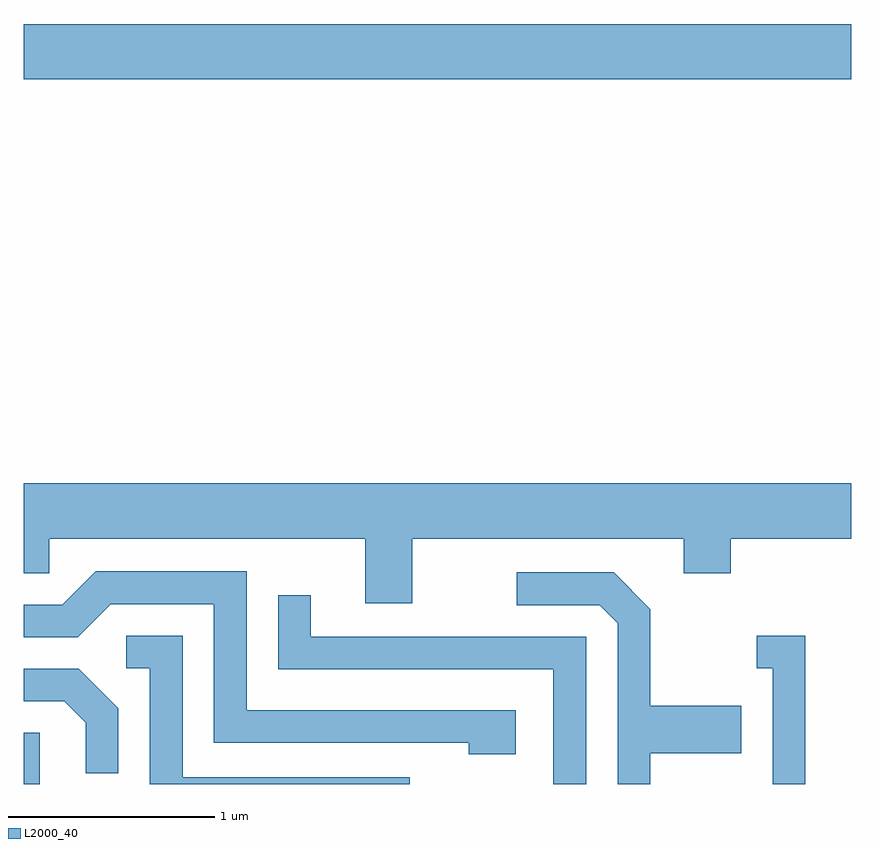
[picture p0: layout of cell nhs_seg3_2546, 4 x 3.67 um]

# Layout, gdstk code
import gdstk
lib = gdstk.Library(unit=1e-6, precision=1e-09)
def R(c, l, rs):  # rectangles x0, y0, x1, y1
    for r in rs: c.add(gdstk.rectangle(r[:2], r[2:], *l))
def P(c, l, *ps):  # polygons
    for p in ps: c.add(gdstk.Polygon(p, *l))
L2000_40 = (2000, 40)

nhs_seg3_2546 = lib.new_cell('nhs_seg3_2546')
R(nhs_seg3_2546, L2000_40, [(259.611,1175.892,259.689,1176.139), (259.611,1179.296,263.611,1179.564)])
P(nhs_seg3_2546, L2000_40, [(261.489,1177.076),(262.801,1177.076),(262.801,1176.911),(263.029,1176.911),(263.029,1177.076),(263.611,1177.076),(263.611,1177.344),(259.611,1177.344),(259.611,1176.911),(259.734,1176.911),(259.734,1177.076),(261.261,1177.076),(261.261,1176.766),(261.489,1176.766)],
  [(261.989,1176.249),(260.689,1176.249),(260.689,1176.919),(259.959,1176.919),(259.799,1176.759),(259.611,1176.759),(259.611,1176.601),(259.872,1176.601),(260.032,1176.761),(260.531,1176.761),(260.531,1176.091),(261.761,1176.091),(261.761,1176.036),(261.989,1176.036)],
  [(262.639,1176.041),(263.079,1176.041),(263.079,1176.269),(262.639,1176.269),(262.639,1176.737),(262.462,1176.914),(261.993,1176.914),(261.993,1176.756),(262.394,1176.756),(262.481,1176.669),(262.481,1175.892),(262.639,1175.892)],
  [(262.329,1176.604),(260.999,1176.604),(260.999,1176.803),(260.841,1176.803),(260.841,1176.446),(262.171,1176.446),(262.171,1175.892),(262.329,1175.892)],
  [(261.478,1175.924),(260.379,1175.924),(260.379,1176.609),(260.108,1176.609),(260.108,1176.451),(260.221,1176.451),(260.221,1175.892),(261.478,1175.892)],
  [(263.389,1176.609),(263.153,1176.609),(263.153,1176.451),(263.231,1176.451),(263.231,1175.892),(263.389,1175.892)],
  [(260.069,1176.257),(259.877,1176.449),(259.611,1176.449),(259.611,1176.291),(259.808,1176.291),(259.911,1176.189),(259.911,1175.943),(260.069,1175.943)])

lib.write_gds('nhs_seg3_2546.gds')
